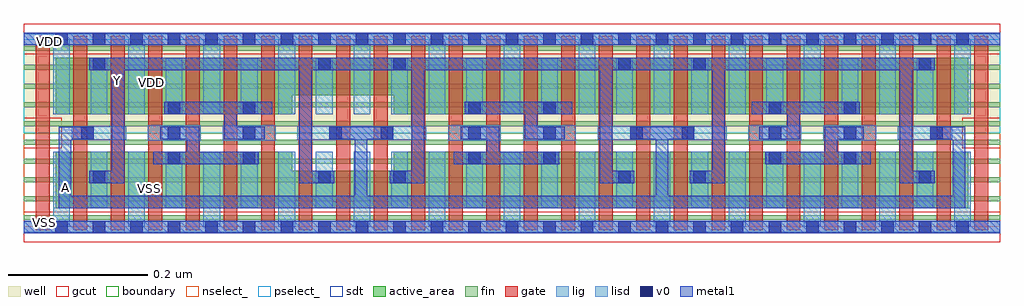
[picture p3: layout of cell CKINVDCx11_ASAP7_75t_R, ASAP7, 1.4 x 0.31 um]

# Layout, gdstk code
import gdstk
lib = gdstk.Library(unit=1e-6, precision=1e-09)
def R(c, l, rs):  # rectangles x0, y0, x1, y1
    for r in rs: c.add(gdstk.rectangle(r[:2], r[2:], *l))
def A(c, l, x, y, w, h, nx, ny, dx, dy):  # array of equal rectangles
    R(c, l, [(x+i*dx, y+j*dy, x+i*dx+w, y+j*dy+h) for i in range(nx) for j in range(ny)])
def P(c, l, *ps):  # polygons
    for p in ps: c.add(gdstk.Polygon(p, *l))
well = (1, 0)
fin = (2, 0)
gate = (7, 0)
gcut = (10, 0)
active_area = (11, 0)
nselect_ = (12, 0)
pselect_ = (13, 0)
lig = (16, 0)
lisd = (17, 0)
v0 = (18, 0)
metal1 = (19, 0)
sdt = (88, 0)
boundary = (100, 0)

ckinvdcx11_asap7_75t_r = lib.new_cell('CKINVDCx11_ASAP7_75t_R')
R(ckinvdcx11_asap7_75t_r, well, [(0,0.135,1.404,0.27)])
A(ckinvdcx11_asap7_75t_r, fin, 0, 0.01, 1.404, 0.007, 1, 10, 0, 0.027)
A(ckinvdcx11_asap7_75t_r, gate, 0.017, -0.005, 0.02, 0.28, 26, 1, 0.054, 0)
R(ckinvdcx11_asap7_75t_r, gcut, [(0,-0.022,1.404,0.022), (0,0.113,0.054,0.157), (1.35,0.113,1.404,0.157), (0,0.248,1.404,0.292)])
P(ckinvdcx11_asap7_75t_r, active_area, [(0.046,0.027),(0.046,0.108),(0.386,0.108),(0.386,0.081),(0.532,0.081),(0.532,0.108),(1.358,0.108),(1.358,0.027)],
  [(0.046,0.162),(0.046,0.243),(1.358,0.243),(1.358,0.162),(0.532,0.162),(0.532,0.189),(0.386,0.189),(0.386,0.162)])
R(ckinvdcx11_asap7_75t_r, nselect_, [(0,0,1.404,0.135)])
R(ckinvdcx11_asap7_75t_r, pselect_, [(0,0.135,1.404,0.27)])
R(ckinvdcx11_asap7_75t_r, lig, [(0,-0.008,1.404,0.008), (0.178,0.124,0.254,0.146), (0.286,0.124,0.362,0.146), (0.61,0.124,0.686,0.146), (0.718,0.124,0.794,0.146), (1.042,0.124,1.118,0.146), (1.15,0.124,1.226,0.146), (0.069,0.125,0.147,0.145), (0.393,0.125,0.579,0.145), (0.825,0.125,1.011,0.145), (1.257,0.125,1.335,0.145), (0,0.262,1.404,0.278)])
A(ckinvdcx11_asap7_75t_r, lisd, 0.042, 0, 0.024, 0.108, 13, 2, 0.108, 0.162)
A(ckinvdcx11_asap7_75t_r, lisd, 0.096, 0.027, 0.024, 0.081, 12, 2, 0.108, 0.135)
A(ckinvdcx11_asap7_75t_r, v0, 0.045, -0.009, 0.018, 0.018, 25, 2, 0.054, 0.27)
A(ckinvdcx11_asap7_75t_r, v0, 0.207, 0.09, 0.018, 0.018, 1, 3, 0, 0.036)
A(ckinvdcx11_asap7_75t_r, v0, 0.315, 0.09, 0.018, 0.018, 1, 3, 0, 0.036)
A(ckinvdcx11_asap7_75t_r, v0, 0.639, 0.09, 0.018, 0.018, 1, 3, 0, 0.036)
A(ckinvdcx11_asap7_75t_r, v0, 0.747, 0.09, 0.018, 0.018, 1, 3, 0, 0.036)
A(ckinvdcx11_asap7_75t_r, v0, 1.071, 0.09, 0.018, 0.018, 1, 3, 0, 0.036)
A(ckinvdcx11_asap7_75t_r, v0, 1.179, 0.09, 0.018, 0.018, 1, 3, 0, 0.036)
R(ckinvdcx11_asap7_75t_r, v0, [(0.099,0.063,0.117,0.081), (0.423,0.063,0.441,0.081), (0.531,0.063,0.549,0.081), (0.855,0.063,0.873,0.081), (0.963,0.063,0.981,0.081), (1.287,0.063,1.305,0.081), (0.082,0.126,0.1,0.144), (0.439,0.126,0.457,0.144), (0.513,0.126,0.531,0.144), (0.872,0.126,0.89,0.144), (0.946,0.126,0.964,0.144), (1.304,0.126,1.322,0.144), (0.099,0.225,0.117,0.243), (0.423,0.225,0.441,0.243), (0.531,0.225,0.549,0.243), (0.855,0.225,0.873,0.243), (0.963,0.225,0.981,0.243), (1.287,0.225,1.305,0.243)])
R(ckinvdcx11_asap7_75t_r, metal1, [(0,-0.009,1.404,0.009), (0,0.261,1.404,0.279)])
P(ckinvdcx11_asap7_75t_r, metal1, [(0.05,0.027),(0.05,0.144),(0.1,0.144),(0.1,0.126),(0.068,0.126),(0.068,0.045),(0.476,0.045),(0.476,0.126),(0.439,0.126),(0.439,0.144),(0.531,0.144),(0.531,0.126),(0.494,0.126),(0.494,0.045),(0.909,0.045),(0.909,0.126),(0.872,0.126),(0.872,0.144),(0.964,0.144),(0.964,0.126),(0.927,0.126),(0.927,0.045),(1.336,0.045),(1.336,0.126),(1.304,0.126),(1.304,0.144),(1.354,0.144),(1.354,0.027)],
  [(0.094,0.063),(0.094,0.081),(0.126,0.081),(0.126,0.225),(0.094,0.225),(0.094,0.243),(1.31,0.243),(1.31,0.225),(1.278,0.225),(1.278,0.081),(1.31,0.081),(1.31,0.063),(1.26,0.063),(1.26,0.225),(1.008,0.225),(1.008,0.063),(0.958,0.063),(0.958,0.081),(0.99,0.081),(0.99,0.225),(0.846,0.225),(0.846,0.081),(0.878,0.081),(0.878,0.063),(0.828,0.063),(0.828,0.225),(0.576,0.225),(0.576,0.063),(0.526,0.063),(0.526,0.081),(0.558,0.081),(0.558,0.225),(0.414,0.225),(0.414,0.081),(0.446,0.081),(0.446,0.063),(0.396,0.063),(0.396,0.225),(0.144,0.225),(0.144,0.063)],
  [(0.186,0.09),(0.186,0.108),(0.234,0.108),(0.234,0.126),(0.196,0.126),(0.196,0.144),(0.252,0.144),(0.252,0.108),(0.338,0.108),(0.338,0.09)],
  [(0.618,0.09),(0.618,0.108),(0.666,0.108),(0.666,0.126),(0.628,0.126),(0.628,0.144),(0.684,0.144),(0.684,0.108),(0.77,0.108),(0.77,0.09)],
  [(1.066,0.09),(1.066,0.108),(1.152,0.108),(1.152,0.144),(1.208,0.144),(1.208,0.126),(1.17,0.126),(1.17,0.108),(1.218,0.108),(1.218,0.09)],
  [(1.058,0.126),(1.058,0.144),(1.098,0.144),(1.098,0.162),(1.047,0.162),(1.047,0.18),(1.202,0.18),(1.202,0.162),(1.116,0.162),(1.116,0.126)],
  [(0.288,0.126),(0.288,0.162),(0.202,0.162),(0.202,0.18),(0.357,0.18),(0.357,0.162),(0.306,0.162),(0.306,0.144),(0.346,0.144),(0.346,0.126)],
  [(0.72,0.126),(0.72,0.162),(0.634,0.162),(0.634,0.18),(0.789,0.18),(0.789,0.162),(0.738,0.162),(0.738,0.144),(0.778,0.144),(0.778,0.126)])
A(ckinvdcx11_asap7_75t_r, sdt, 0.042, 0.027, 0.024, 0.081, 7, 2, 0.054, 0.135)
A(ckinvdcx11_asap7_75t_r, sdt, 0.528, 0.027, 0.024, 0.081, 16, 2, 0.054, 0.135)
R(ckinvdcx11_asap7_75t_r, sdt, [(0.42,0.027,0.444,0.081), (0.474,0.027,0.498,0.081), (0.42,0.189,0.444,0.243), (0.474,0.189,0.498,0.243)])
R(ckinvdcx11_asap7_75t_r, boundary, [(0,0,1.404,0.27)])
ckinvdcx11_asap7_75t_r.add(gdstk.Label('VSS', (0.029,0.006), layer=19, texttype=251))
ckinvdcx11_asap7_75t_r.add(gdstk.Label('VDD', (0.036,0.267), layer=19, texttype=251))
ckinvdcx11_asap7_75t_r.add(gdstk.Label('Y', (0.135,0.21), layer=19, texttype=251))
ckinvdcx11_asap7_75t_r.add(gdstk.Label('A', (0.06,0.057), layer=19, texttype=251))
ckinvdcx11_asap7_75t_r.add(gdstk.Label('VDD', (0.184,0.207), layer=1, texttype=251))
ckinvdcx11_asap7_75t_r.add(gdstk.Label('VSS', (0.181,0.055), layer=3, texttype=251))

lib.write_gds('CKINVDCx11_ASAP7_75t_R.gds')
